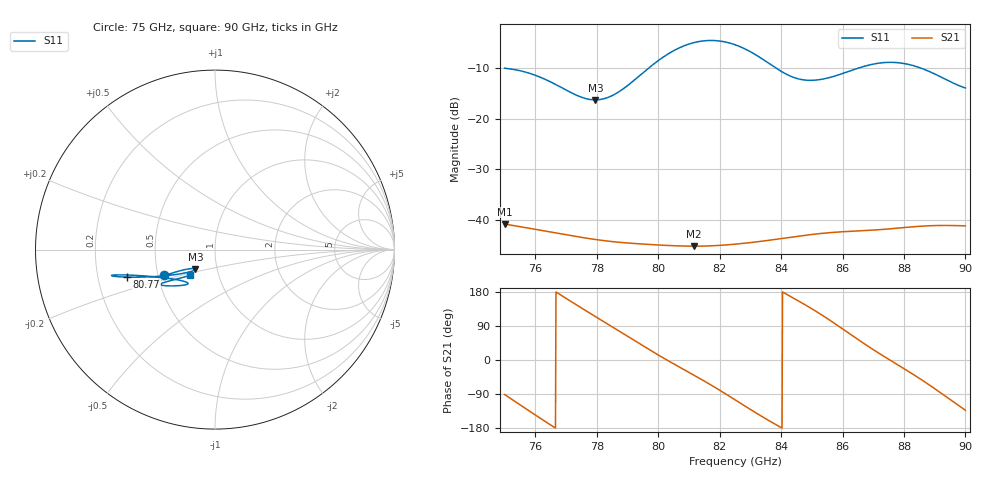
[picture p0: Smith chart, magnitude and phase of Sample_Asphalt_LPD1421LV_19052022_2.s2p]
!SWISSto12 MCK measurement data
!name=Sample_Asphalt_LPD1421LV_19052022_2
!thickness[mm]=18.000
# GHz S RI R 50.0
!freq ReS11 ImS11 ReS21 ImS21 ReS12 ImS12 ReS22 ImS22
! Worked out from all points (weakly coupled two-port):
!   961 points, 75 GHz to 90 GHz, reference 50 ohm
!   highest |S21| = -40.84 dB at 75 GHz (marker M1); lowest = -45.2 dB at 81.17 GHz (marker M2)
!   lowest |S11| = -16.3 dB at 77.95 GHz (marker M3), VSWR 1.36, Z = 39.3 - j8.69 ohm
!   |S11| at or under -10 dB: start of sweep to 79.69 GHz; 83.84 GHz to 86.51 GHz (2.668 GHz wide, 3.13 % of centre); 88.56 GHz to end of sweep
!   S12 and S22 are empty: the file has one direction only
!   S11 on the Smith chart (normalised r, x): 75 GHz: 0.54, -0.17; 80.77 GHz: 0.33, -0.14; 90 GHz: 0.73, -0.22
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75  -0.2821 -0.142  -0.00017 -0.00908  0 0  0 0
76.03125  -0.2336 -0.1292  -0.00671 -0.00439  0 0  0 0
77.5  -0.1245 -0.1055  -0.00493 0.00454  0 0  0 0
77.95312  -0.1093 -0.1079  -0.00267 0.0058  0 0  0 0
78.3125  -0.113 -0.1137  -0.000739 0.00613  0 0  0 0
78.6875  -0.1349 -0.1222  0.00123 0.00588  0 0  0 0
79.28125  -0.2083 -0.1373  0.00385 0.00435  0 0  0 0
80  -0.3438 -0.1507  0.00548 0.00129  0 0  0 0
80.76562  -0.4915 -0.1533  0.0051 -0.00207  0 0  0 0
81.17188  -0.5468 -0.1504  0.00417 -0.00356  0 0  0 0
81.82812  -0.5759 -0.1438  0.00179 -0.00525  0 0  0 0
82.5  -0.5211 -0.1408  -0.00147 -0.00554  0 0  0 0
83.0625  -0.4253 -0.1445  -0.00412 -0.00433  0 0  0 0
84.25  -0.2088 -0.1686  -0.00658 0.00112  0 0  0 0
84.625  -0.1692 -0.1778  -0.00617 0.00313  0 0  0 0
85  -0.1512 -0.1862  -0.00508 0.00504  0 0  0 0
85.60938  -0.1656 -0.1965  -0.00179 0.00725  0 0  0 0
86.8125  -0.2694 -0.2018  0.00625 0.00475  0 0  0 0
87.5  -0.3033 -0.196  0.00811 0.000285  0 0  0 0
87.96875  -0.2984 -0.1889  0.00779 -0.00303  0 0  0 0
88.45312  -0.2707 -0.1792  0.00599 -0.00618  0 0  0 0
90  -0.1405 -0.1441  -0.00589 -0.00641  0 0  0 0
